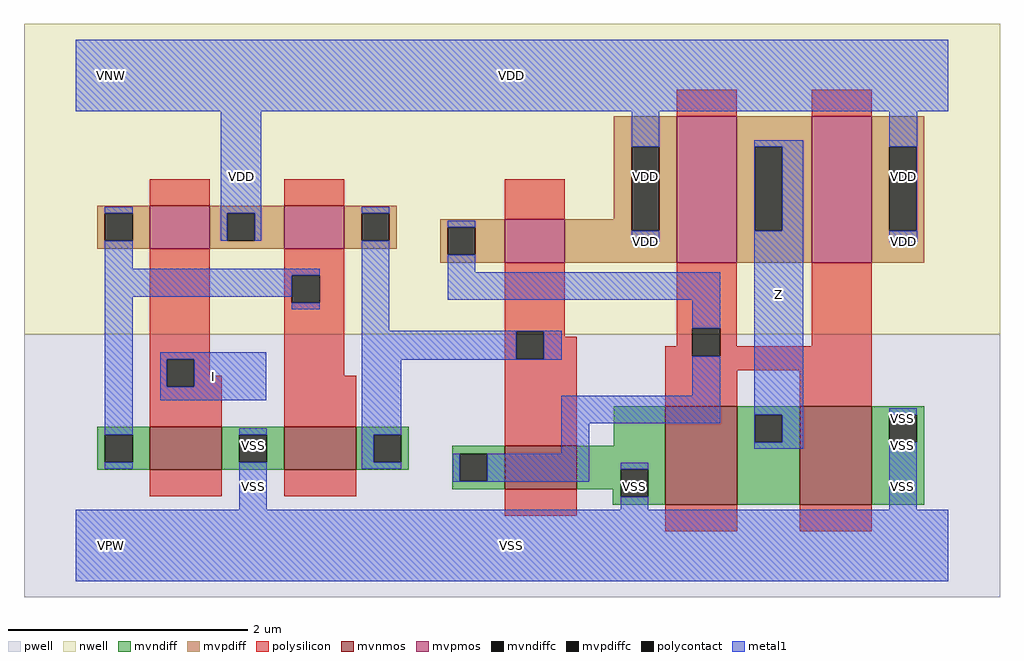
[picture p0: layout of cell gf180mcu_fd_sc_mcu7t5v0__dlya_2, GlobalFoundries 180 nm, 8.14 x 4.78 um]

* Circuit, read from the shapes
.subckt gf180mcu_fd_sc_mcu7t5v0__dlya_2 I Z VDD VNW VPW VSS
XM1 VSS I n1 VPW nfet_06v0 w=0.36u l=0.6u
XM2 n2 n1 VSS VPW nfet_06v0 w=0.36u l=0.6u
XM3 VSS n2 n3 VPW nfet_06v0 w=0.36u l=0.6u
XM4 Z n3 VSS VPW nfet_06v0 w=0.82u l=0.6u m=2
XM5 VDD I n1 VNW pfet_06v0 w=0.36u l=0.5u
XM6 n2 n1 VDD VNW pfet_06v0 w=0.36u l=0.5u
XM7 VDD n2 n3 VNW pfet_06v0 w=0.36u l=0.5u
XM8 Z n3 VDD VNW pfet_06v0 w=1.22u l=0.5u m=2
.ends

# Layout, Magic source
magic
tech gf180mcuD
magscale 1 10
<< nwell >>
rect -86 352 1542 870
<< pwell >>
rect -86 -86 1542 352
<< mvnmos >>
rect 124 126 244 198
rect 348 126 468 198
rect 716 94 836 166
rect 984 68 1104 232
rect 1208 68 1328 232
<< mvpmos >>
rect 124 495 224 567
rect 348 495 448 567
rect 716 472 816 544
rect 1003 472 1103 716
rect 1228 472 1328 716
<< mvndiff >>
rect 36 185 124 198
rect 36 139 49 185
rect 95 139 124 185
rect 36 126 124 139
rect 244 185 348 198
rect 244 139 273 185
rect 319 139 348 185
rect 244 126 348 139
rect 468 185 556 198
rect 468 139 497 185
rect 543 139 556 185
rect 898 166 984 232
rect 468 126 556 139
rect 628 153 716 166
rect 628 107 641 153
rect 687 107 716 153
rect 628 94 716 107
rect 836 127 984 166
rect 836 94 909 127
rect 896 81 909 94
rect 955 81 984 127
rect 896 68 984 81
rect 1104 218 1208 232
rect 1104 172 1133 218
rect 1179 172 1208 218
rect 1104 68 1208 172
rect 1328 218 1416 232
rect 1328 172 1357 218
rect 1403 172 1416 218
rect 1328 68 1416 172
<< mvpdiff >>
rect 898 665 1003 716
rect 36 554 124 567
rect 36 508 49 554
rect 95 508 124 554
rect 36 495 124 508
rect 224 554 348 567
rect 224 508 253 554
rect 299 508 348 554
rect 224 495 348 508
rect 448 554 536 567
rect 448 508 477 554
rect 523 508 536 554
rect 898 544 928 665
rect 448 495 536 508
rect 608 531 716 544
rect 608 485 621 531
rect 667 485 716 531
rect 608 472 716 485
rect 816 525 928 544
rect 974 525 1003 665
rect 816 472 1003 525
rect 1103 665 1228 716
rect 1103 525 1133 665
rect 1179 525 1228 665
rect 1103 472 1228 525
rect 1328 665 1416 716
rect 1328 525 1357 665
rect 1403 525 1416 665
rect 1328 472 1416 525
<< mvndiffc >>
rect 49 139 95 185
rect 273 139 319 185
rect 497 139 543 185
rect 641 107 687 153
rect 909 81 955 127
rect 1133 172 1179 218
rect 1357 172 1403 218
<< mvpdiffc >>
rect 49 508 95 554
rect 253 508 299 554
rect 477 508 523 554
rect 621 485 667 531
rect 928 525 974 665
rect 1133 525 1179 665
rect 1357 525 1403 665
<< polysilicon >>
rect 1003 716 1103 760
rect 1228 716 1328 760
rect 124 567 224 611
rect 348 567 448 611
rect 716 544 816 611
rect 124 311 224 495
rect 124 265 152 311
rect 198 283 224 311
rect 348 451 448 495
rect 348 405 361 451
rect 407 405 448 451
rect 348 283 448 405
rect 716 357 816 472
rect 716 311 735 357
rect 781 348 816 357
rect 1003 362 1103 472
rect 781 311 836 348
rect 1003 332 1029 362
rect 198 265 244 283
rect 124 198 244 265
rect 348 198 468 283
rect 716 166 836 311
rect 984 316 1029 332
rect 1075 332 1103 362
rect 1228 332 1328 472
rect 1075 316 1328 332
rect 984 292 1328 316
rect 984 232 1104 292
rect 1208 232 1328 292
rect 124 82 244 126
rect 348 82 468 126
rect 716 50 836 94
rect 984 24 1104 68
rect 1208 24 1328 68
<< polycontact >>
rect 152 265 198 311
rect 361 405 407 451
rect 735 311 781 357
rect 1029 316 1075 362
<< metal1 >>
rect 0 724 1456 844
rect 49 554 95 565
rect 242 554 310 724
rect 928 665 974 724
rect 242 508 253 554
rect 299 508 310 554
rect 477 554 523 565
rect 49 462 95 508
rect 49 451 407 462
rect 49 415 361 451
rect 49 185 95 415
rect 361 394 407 405
rect 477 358 523 508
rect 621 531 667 542
rect 928 506 974 525
rect 1132 665 1214 676
rect 1132 525 1133 665
rect 1179 525 1214 665
rect 621 456 667 485
rect 621 410 1075 456
rect 1029 362 1075 410
rect 477 357 811 358
rect 141 311 318 322
rect 141 265 152 311
rect 198 265 318 311
rect 141 242 318 265
rect 477 311 735 357
rect 781 311 811 357
rect 477 310 811 311
rect 49 128 95 139
rect 273 185 319 196
rect 273 60 319 139
rect 477 185 543 310
rect 1029 250 1075 316
rect 477 139 497 185
rect 810 204 1075 250
rect 1132 218 1214 525
rect 1357 665 1404 724
rect 1403 525 1404 665
rect 1357 506 1404 525
rect 810 153 857 204
rect 1132 172 1133 218
rect 1179 172 1214 218
rect 1132 161 1214 172
rect 1357 218 1403 229
rect 477 128 543 139
rect 629 107 641 153
rect 687 107 857 153
rect 629 106 857 107
rect 909 127 955 138
rect 909 60 955 81
rect 1357 60 1403 172
rect 0 -60 1456 60
<< labels >>
flabel metal1 s 0 724 1456 844 0 FreeSans 400 0 0 0 VDD
port 3 nsew power bidirectional abutment
flabel metal1 s 141 242 318 322 0 FreeSans 400 0 0 0 I
port 1 nsew default input
flabel metal1 s 1132 161 1214 676 0 FreeSans 400 0 0 0 Z
port 2 nsew default output
flabel metal1 s 1357 196 1403 229 0 FreeSans 400 0 0 0 VSS
port 6 nsew ground bidirectional abutment
flabel nwell s 10 734 110 834 0 FreeSans 400 0 0 0 VNW
port 4 nsew power bidirectional
flabel pwell s 10 -50 110 50 0 FreeSans 400 0 0 0 VPW
port 5 nsew ground bidirectional
rlabel metal1 s 1357 508 1404 724 1 VDD
port 3 nsew power bidirectional abutment
rlabel metal1 s 928 508 974 724 1 VDD
port 3 nsew power bidirectional abutment
rlabel metal1 s 242 508 310 724 1 VDD
port 3 nsew power bidirectional abutment
rlabel metal1 s 1357 506 1404 508 1 VDD
port 3 nsew power bidirectional abutment
rlabel metal1 s 928 506 974 508 1 VDD
port 3 nsew power bidirectional abutment
rlabel metal1 s 1357 138 1403 196 1 VSS
port 6 nsew ground bidirectional abutment
rlabel metal1 s 273 138 319 196 1 VSS
port 6 nsew ground bidirectional abutment
rlabel metal1 s 1357 60 1403 138 1 VSS
port 6 nsew ground bidirectional abutment
rlabel metal1 s 909 60 955 138 1 VSS
port 6 nsew ground bidirectional abutment
rlabel metal1 s 273 60 319 138 1 VSS
port 6 nsew ground bidirectional abutment
rlabel metal1 s 0 -60 1456 60 1 VSS
port 6 nsew ground bidirectional abutment
<< properties >>
string FIXED_BBOX 0 0 1456 784
string GDS_END 1085124
string GDS_FILE $PDKPATH/libs.ref/gf180mcu_fd_sc_mcu7t5v0/gds/gf180mcu_fd_sc_mcu7t5v0.gds
string GDS_START 1081136
string LEFclass core
string LEFsite GF018hv5v_mcu_sc7
string LEFsymmetry X Y
<< end >>
